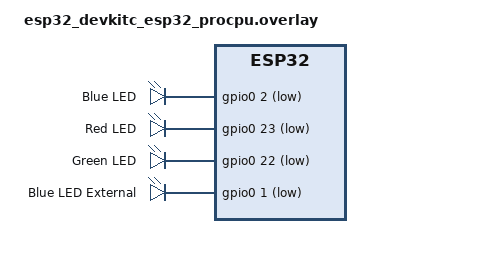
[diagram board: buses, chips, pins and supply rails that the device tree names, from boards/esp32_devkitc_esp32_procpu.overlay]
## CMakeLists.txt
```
cmake_minimum_required(VERSION 3.20.0)

# Explicitly select picolibc sysroot to avoid "Multiple sysroot candidates" warning
set(SYSROOT_DIR "$ENV{ZEPHYR_SDK_INSTALL_DIR}/xtensa-espressif_esp32_zephyr-elf/picolibc/xtensa-espressif_esp32_zephyr-elf")
# Alternative: legacy newlib sysroot
# set(SYSROOT_DIR "$ENV{ZEPHYR_SDK_INSTALL_DIR}/xtensa-espressif_esp32_zephyr-elf/xtensa-espressif_esp32_zephyr-elf")

list(APPEND BOARD_ROOT ${CMAKE_CURRENT_SOURCE_DIR})
list(APPEND DTS_ROOT   ${CMAKE_CURRENT_SOURCE_DIR}/..)
find_package(Zephyr REQUIRED)
project(my_zephyr_app)

target_sources(app PRIVATE src/main.cpp)
add_subdirectory(drivers/our_driver)
```

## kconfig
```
menuconfig LED_SUBSYSTEM
    bool "LED Subsystem"
    default y

if LED_SUBSYSTEM

choice
    prompt "LED blink sleep time"
    default BLINK_SLEEP_TIME_MS_1000
config BLINK_SLEEP_TIME_MS_250
    bool "250ms veryfast"
config BLINK_SLEEP_TIME_MS_500
    bool "500ms fast"
config BLINK_SLEEP_TIME_MS_1000
    bool "1s normal"
config BLINK_SLEEP_TIME_MS_2000
    bool "2s slow"
endchoice

config BLINK_SLEEP_TIME_MS
    int
    default 250 if BLINK_SLEEP_TIME_MS_250
    default 500 if BLINK_SLEEP_TIME_MS_500
    default 1000 if BLINK_SLEEP_TIME_MS_1000
    default 2000 if BLINK_SLEEP_TIME_MS_2000
    default 0
    help
      Time to sleep between toggling the LED
      The value must be between 100 and 5000 milliseconds.

#advanced led settings
menuconfig ADVANCED_LED_SETTINGS
    bool "Advanced LED settings"
    depends on LED_SUBSYSTEM

if ADVANCED_LED_SETTINGS
config LED_BRIGHTNESS
    int "LED brightness (0-100)"
    range 0 100
    default 100

config LED_FADE_DURATION_MS
    int "LED fade duration (ms)"
    range 0 5000
    default 500
endif # ADVANCED_LED_SETTINGS

menu "Expert settings"
    visible if ADVANCED_LED_SETTINGS

config LED_DEBUG
    bool "Enable LED debugging"
    default n

config CUSTOM_LED_PATTERN
    bool "Custom blink pattern"
    default n

endmenu

endif # LED_SUBSYSTEM

config APP_HEARTBEAT_PERIOD_MS
    int "Heartbeat LED period (ms)"
    default 500
    range 100 2000
    help
      Time in milliseconds between LED toggles.
      Increase to slow down the heartbeat, decrease to speed it up.

source "Kconfig.zephyr"
rsource "drivers/our_driver/Kconfig"
```

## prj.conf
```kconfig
CONFIG_LOG=y
CONFIG_OUR_DRIVER=y

CONFIG_SHELL=y
CONFIG_GPIO_SHELL=y
CONFIG_I2C_SHELL=y
# CONFIG_SENSOR_SHELL is disabled: Zephyr's built-in sensor shell also
# registers the "sensor" root command, which conflicts with our custom one.
CONFIG_FLASH_SHELL=y
CONFIG_ADC_SHELL=y
CONFIG_FILE_SYSTEM_SHELL=y
CONFIG_KERNEL_SHELL=y
```

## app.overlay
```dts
/ {
    our_driver0: our_driver {
        compatible = "our,driver";
        status = "okay";
        gpios = <&gpio0 22 GPIO_ACTIVE_LOW>;
    };
    our_driver1: our_driver1 {
        compatible = "our,driver";
        status = "okay";
        gpios = <&gpio0 22 GPIO_ACTIVE_LOW>;
    };
};
```

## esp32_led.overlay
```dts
/ {
	aliases {
		led0 = &led0;
	};

	leds {
		compatible = "gpio-leds";
		led0: led_0 {
			gpios = <&gpio0 2 GPIO_ACTIVE_LOW>;
			label = "Blue LED";
		};
	};
};
```

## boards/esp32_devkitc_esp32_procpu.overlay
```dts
/ {
	aliases
	{
		blueled-onboard = &led2;
	};

	leds {
		compatible = "gpio-leds";
		led2: led_2 {
			gpios = <&gpio0 2 GPIO_ACTIVE_LOW>;
			label = "Blue LED";
		};

		ledred: led_23 {
			gpios = <&gpio0 23 GPIO_ACTIVE_LOW>;
			label = "Red LED";
		};

		ledgreen: led_22 {
			gpios = <&gpio0 22 GPIO_ACTIVE_LOW>;
			label = "Green LED";
		};

		ledblue: led_1 {
			gpios = <&gpio0 1 GPIO_ACTIVE_LOW>;
			label = "Blue LED External";
		};

	};
};
```

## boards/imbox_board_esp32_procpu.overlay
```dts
/ {
	aliases
	{
		blueled-onboard = &led2;
		app-led = &led2;
	};

	leds {
		compatible = "gpio-leds";
		led2: led_2 {
			gpios = <&gpio0 2 GPIO_ACTIVE_LOW>;
			label = "Blue LED";
		};

		ledred: led_23 {
			gpios = <&gpio0 23 GPIO_ACTIVE_LOW>;
			label = "Red LED";
		};

		ledgreen: led_22 {
			gpios = <&gpio0 22 GPIO_ACTIVE_LOW>;
			label = "Green LED";
		};

		ledblue: led_1 {
			gpios = <&gpio0 1 GPIO_ACTIVE_LOW>;
			label = "Blue LED External";
		};

	};
};
```

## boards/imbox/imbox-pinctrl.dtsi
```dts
/*
 * SPDX-License-Identifier: Apache-2.0
 */

#include <zephyr/dt-bindings/pinctrl/esp-pinctrl-common.h>
#include <dt-bindings/pinctrl/esp32-pinctrl.h>
#include <zephyr/dt-bindings/pinctrl/esp32-gpio-sigmap.h>

&pinctrl {

	uart0_default: uart0_default {
		group1 {
			pinmux = <UART0_TX_GPIO1>;
			output-high;
		};
		group2 {
			pinmux = <UART0_RX_GPIO3>;
			bias-pull-up;
		};
	};

};
```

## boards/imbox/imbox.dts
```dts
/*
 * SPDX-License-Identifier: Apache-2.0
 */
/dts-v1/;

#include <espressif/esp32/esp32_wrover_e_n4r8.dtsi>
#include "imbox-pinctrl.dtsi"
#include <espressif/partitions_0x1000_amp.dtsi>

/ {
	model = "IMBOX charging lock Board";
	compatible = "imbox_org,imbox";

	aliases {
		uart-0 = &uart0;
		led0 = &ledred;
		led1 = &ledgreen;
		led2 = &ledblue;
		/* app-led maps to the red LED; main.cpp uses DT_ALIAS(app_led) */
		app-led = &ledred;
	};

	chosen {
		zephyr,sram = &sram1;
		zephyr,console = &uart0;
		zephyr,shell-uart = &uart0;
		zephyr,flash = &flash0;
		zephyr,code-partition = &slot0_partition;
		zephyr,bt-hci = &esp32_bt_hci;
	};

	leds {
		compatible = "gpio-leds";

		ledred: led_23 {
			gpios = <&gpio0 23 GPIO_ACTIVE_LOW>;
			label = "Red LED";
		};

		ledgreen: led_22 {
			gpios = <&gpio0 22 GPIO_ACTIVE_LOW>;
			label = "Green LED";
		};

		ledblue: led_21 {
			gpios = <&gpio0 21 GPIO_ACTIVE_LOW>;
			label = "Blue LED";
		};
	};
};

&uart0 {
	status = "okay";
	current-speed = <115200>;
	pinctrl-0 = <&uart0_default>;
	pinctrl-names = "default";
};
```

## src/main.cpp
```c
#include <zephyr/kernel.h>
#include <zephyr/logging/log.h>

LOG_MODULE_REGISTER(main, LOG_LEVEL_INF);

int main(void)
{
    LOG_INF("Sensor shell ready.");
    LOG_INF("Try: sensor fetch <dev>  sensor read <dev>  sensor info <dev>");
    return 0;
}
```
